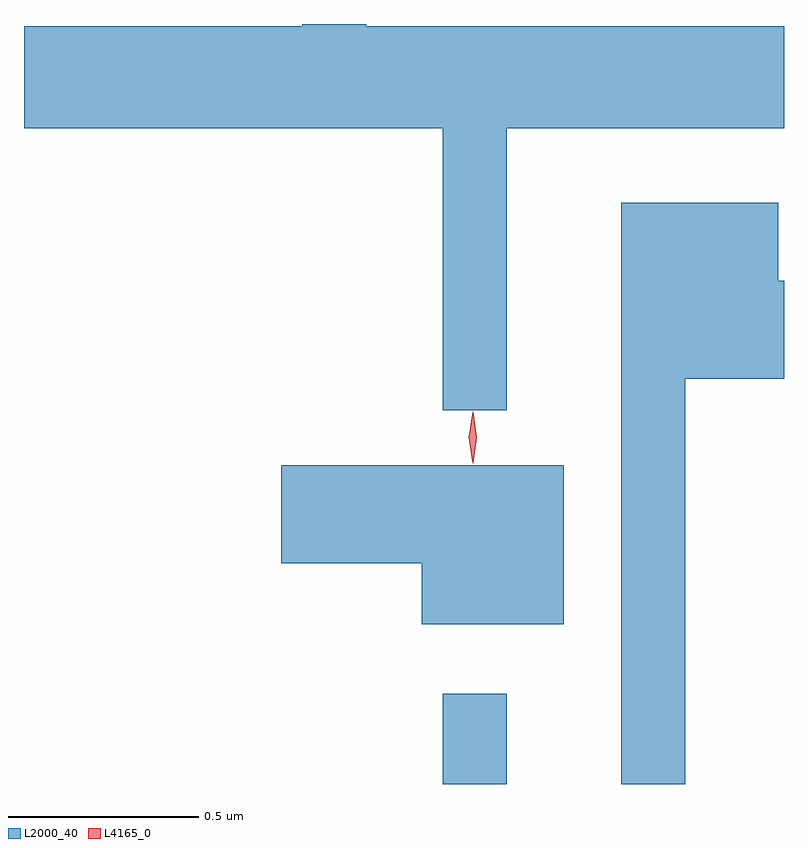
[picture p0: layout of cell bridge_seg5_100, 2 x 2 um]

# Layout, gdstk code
import gdstk
lib = gdstk.Library(unit=1e-6, precision=1e-09)
def R(c, l, rs):  # rectangles x0, y0, x1, y1
    for r in rs: c.add(gdstk.rectangle(r[:2], r[2:], *l))
def P(c, l, *ps):  # polygons
    for p in ps: c.add(gdstk.Polygon(p, *l))
L2000_40 = (2000, 40)
L4165_0 = (4165, 0)

bridge_seg5_100 = lib.new_cell('bridge_seg5_100')
R(bridge_seg5_100, L2000_40, [(1075.601,1477.27,1075.769,1477.508)])
P(bridge_seg5_100, L2000_40, [(1075.769,1478.996),(1076.499,1478.996),(1076.499,1479.264),(1075.399,1479.264),(1075.399,1479.27),(1075.231,1479.27),(1075.231,1479.264),(1074.499,1479.264),(1074.499,1478.996),(1075.601,1478.996),(1075.601,1478.253),(1075.769,1478.253)],
  [(1076.239,1478.336),(1076.499,1478.336),(1076.499,1478.594),(1076.484,1478.594),(1076.484,1478.799),(1076.071,1478.799),(1076.071,1477.27),(1076.239,1477.27)],
  [(1075.919,1478.109),(1075.176,1478.109),(1075.176,1477.851),(1075.546,1477.851),(1075.546,1477.691),(1075.919,1477.691)])
P(bridge_seg5_100, L4165_0, [(1075.68,1478.114),(1075.68,1478.114),(1075.67,1478.182),(1075.68,1478.25),(1075.68,1478.25),(1075.681,1478.25),(1075.69,1478.182),(1075.681,1478.114)],
  [(1075.678,1478.12),(1075.678,1478.121),(1075.669,1478.184),(1075.68,1478.246),(1075.68,1478.247),(1075.681,1478.246),(1075.689,1478.184),(1075.679,1478.121)])

lib.write_gds('bridge_seg5_100.gds')
